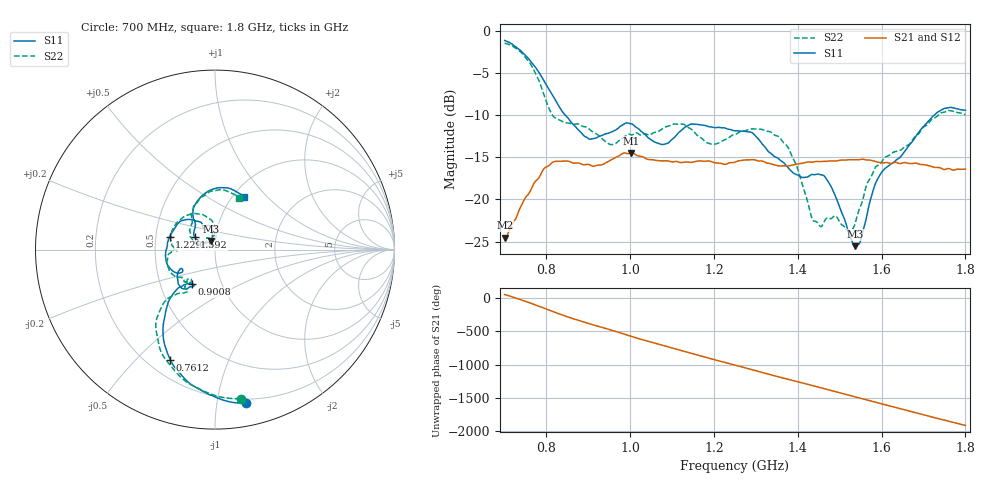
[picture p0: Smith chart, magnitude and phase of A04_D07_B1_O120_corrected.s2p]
! Created with skrf 1.9.0 (http://scikit-rf.org).
# Hz S RI R 50.0
!freq ReS11 ImS11 ReS21 ImS21 ReS12 ImS12 ReS22 ImS22
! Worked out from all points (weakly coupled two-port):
!   1601 points, 700 MHz to 1.8 GHz, reference 50 ohm
!   highest |S21| = -14.48 dB at 1.002 GHz (marker M1); lowest = -24.5 dB at 701.4 MHz (marker M2)
!   lowest |S11| = -25.5 dB at 1.537 GHz (marker M3), VSWR 1.11, Z = 47.5 + j4.53 ohm
!   |S11| at or under -10 dB: 844.6 MHz to 1.726 GHz (881.2 MHz wide, 68.6 % of centre)
!   |S22| runs from -23.8 to -1.5 dB; largest |S21 - S12| = 0.0036
!   S11 on the Smith chart (normalised r, x): 700 MHz: 0.17, -1.21; 761.2 MHz: 0.29, -0.63; 900.8 MHz: 0.73, -0.29; 1.229 GHz: 0.59, +0.09; 1.592 GHz: 0.79, +0.11; 1.8 GHz: 1.13, +0.75
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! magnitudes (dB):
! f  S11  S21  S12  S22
! 700 MHz  -1.2  -24.5  -24.3  -1.5
! 701.4 MHz  -1.2  -24.5  -24.1  -1.5
! 761.2 MHz  -3.6  -19.0  -18.9  -3.9
! 816.2 MHz  -7.8  -15.5  -15.6  -10.1
! 883.6 MHz  -12.1  -15.8  -15.7  -11.3
! 900.8 MHz  -12.8  -15.8  -15.9  -11.6
! 953.7 MHz  -12.0  -15.3  -15.3  -13.5
! 1.002 GHz  -11.0  -14.5  -14.6  -12.3
! 1.067 GHz  -13.4  -15.4  -15.4  -11.9
! 1.145 GHz  -11.1  -15.6  -15.6  -11.6
! 1.229 GHz  -11.6  -15.8  -15.7  -12.9
! 1.25 GHz  -11.9  -15.6  -15.5  -12.3
! 1.357 GHz  -15.3  -16.0  -16.0  -12.7
! 1.396 GHz  -17.0  -15.8  -15.8  -15.9
! 1.434 GHz  -17.0  -15.6  -15.5  -22.2
! 1.474 GHz  -18.0  -15.5  -15.5  -22.2
! 1.537 GHz  -25.5  -15.3  -15.3  -22.9
! 1.55 GHz  -24.8  -15.2  -15.3  -20.7
! 1.592 GHz  -17.5  -15.6  -15.6  -16.0
! 1.617 GHz  -16.0  -15.7  -15.6  -14.8
! 1.735 GHz  -9.6  -16.2  -16.3  -10.0
! 1.8 GHz  -9.4  -16.4  -16.4  -10.0
